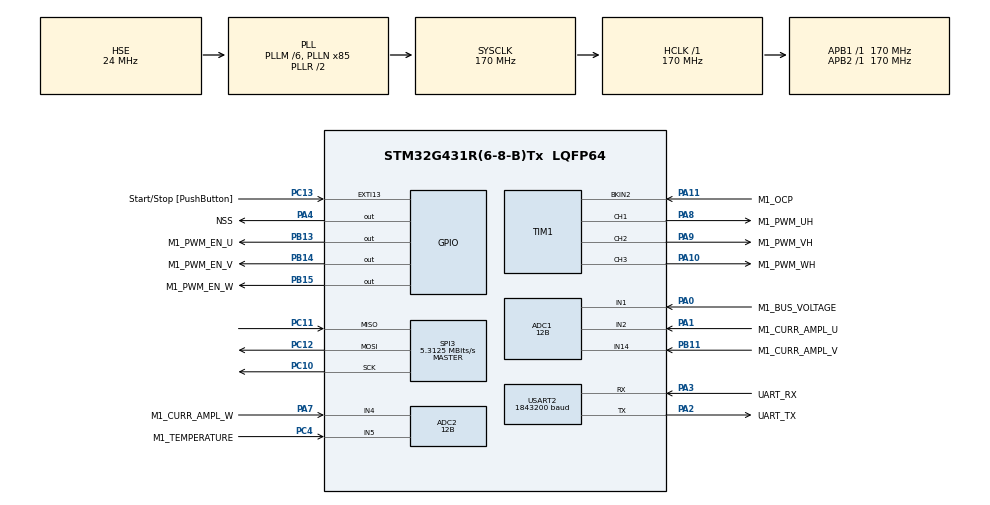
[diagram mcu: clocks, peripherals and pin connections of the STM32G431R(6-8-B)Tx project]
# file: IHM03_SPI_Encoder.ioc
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ADC1.Channel-1\#ChannelRegularConversion=ADC_CHANNEL_1
ADC1.ClockPrescaler=ADC_CLOCK_ASYNC_DIV1
ADC1.ContinuousConvMode=DISABLE
ADC1.DMAContinuousRequests=DISABLE
ADC1.DataAlign=ADC_DATAALIGN_LEFT
ADC1.DiscontinuousConvMode=DISABLE
ADC1.EOCSelection=ADC_EOC_SINGLE_CONV
ADC1.EnableAnalogWatchDog1=false
ADC1.EnableAnalogWatchDog2=false
ADC1.EnableAnalogWatchDog3=false
ADC1.EnableInjectedConversion=ENABLE
ADC1.EnableRegularConversion=ENABLE
ADC1.ExternalTrigConv=ADC_SOFTWARE_START
ADC1.ExternalTrigConvEdge=ADC_EXTERNALTRIGCONVEDGE_NONE
ADC1.ExternalTrigInjecConv=ADC_EXTERNALTRIGINJEC_T1_TRGO
ADC1.ExternalTrigInjecConvEdge=ADC_EXTERNALTRIGINJECCONV_EDGE_RISING
ADC1.InjNumberOfConversion=2
ADC1.InjectedChannel-1\#ChannelInjectedConversion=ADC_CHANNEL_2
ADC1.InjectedChannel-2\#ChannelInjectedConversion=ADC_CHANNEL_14
ADC1.InjectedConvMode=None
ADC1.InjectedOffset-1\#ChannelInjectedConversion=0
ADC1.InjectedOffset-2\#ChannelInjectedConversion=0
ADC1.InjectedOffsetNumber-1\#ChannelInjectedConversion=ADC_OFFSET_NONE
ADC1.InjectedOffsetNumber-2\#ChannelInjectedConversion=ADC_OFFSET_NONE
ADC1.InjectedRank-1\#ChannelInjectedConversion=1
ADC1.InjectedRank-2\#ChannelInjectedConversion=2
ADC1.InjectedSamplingTime-1\#ChannelInjectedConversion=ADC_SAMPLETIME_6CYCLES_5
ADC1.InjectedSamplingTime-2\#ChannelInjectedConversion=ADC_SAMPLETIME_6CYCLES_5
ADC1.LowPowerAutoWait=DISABLE
ADC1.NbrOfConversion=1
ADC1.NbrOfConversionFlag=1
ADC1.Offset-1\#ChannelRegularConversion=0
ADC1.OffsetNumber-1\#ChannelRegularConversion=ADC_OFFSET_NONE
ADC1.Overrun=ADC_OVR_DATA_PRESERVED
ADC1.Rank-1\#ChannelRegularConversion=1
ADC1.Resolution=ADC_RESOLUTION_12B
ADC1.SamplingTime-1\#ChannelRegularConversion=ADC_SAMPLETIME_47CYCLES_5
ADC1.ScanConvMode=ADC_SCAN_ENABLE
ADC1.master=1
ADC2.Channel-1\#ChannelRegularConversion=ADC_CHANNEL_5
ADC2.ClockPrescaler=ADC_CLOCK_ASYNC_DIV1
ADC2.ContinuousConvMode=DISABLE
ADC2.DMAContinuousRequests=DISABLE
ADC2.DataAlign=ADC_DATAALIGN_LEFT
ADC2.DiscontinuousConvMode=DISABLE
ADC2.EOCSelection=ADC_EOC_SINGLE_CONV
ADC2.EnableAnalogWatchDog1=false
ADC2.EnableAnalogWatchDog2=false
ADC2.EnableAnalogWatchDog3=false
ADC2.EnableInjectedConversion=ENABLE
ADC2.EnableRegularConversion=ENABLE
ADC2.ExternalTrigConv=ADC_SOFTWARE_START
ADC2.ExternalTrigConvEdge=ADC_EXTERNALTRIGCONVEDGE_NONE
ADC2.ExternalTrigInjecConv=ADC_EXTERNALTRIGINJEC_T1_TRGO
ADC2.ExternalTrigInjecConvEdge=ADC_EXTERNALTRIGINJECCONV_EDGE_RISING
ADC2.InjNumberOfConversion=2
ADC2.InjectedChannel-1\#ChannelInjectedConversion=ADC_CHANNEL_14
ADC2.InjectedChannel-2\#ChannelInjectedConversion=ADC_CHANNEL_4
ADC2.InjectedConvMode=None
ADC2.InjectedOffset-1\#ChannelInjectedConversion=0
ADC2.InjectedOffset-2\#ChannelInjectedConversion=0
ADC2.InjectedOffsetNumber-1\#ChannelInjectedConversion=ADC_OFFSET_NONE
ADC2.InjectedOffsetNumber-2\#ChannelInjectedConversion=ADC_OFFSET_NONE
ADC2.InjectedRank-1\#ChannelInjectedConversion=1
ADC2.InjectedRank-2\#ChannelInjectedConversion=2
ADC2.InjectedSamplingTime-1\#ChannelInjectedConversion=ADC_SAMPLETIME_6CYCLES_5
ADC2.InjectedSamplingTime-2\#ChannelInjectedConversion=ADC_SAMPLETIME_6CYCLES_5
ADC2.LowPowerAutoWait=DISABLE
ADC2.NbrOfConversion=1
ADC2.NbrOfConversionFlag=1
ADC2.Offset-1\#ChannelRegularConversion=0
ADC2.OffsetNumber-1\#ChannelRegularConversion=ADC_OFFSET_NONE
ADC2.Overrun=ADC_OVR_DATA_PRESERVED
ADC2.Rank-1\#ChannelRegularConversion=1
ADC2.Resolution=ADC_RESOLUTION_12B
ADC2.SamplingTime-1\#ChannelRegularConversion=ADC_SAMPLETIME_47CYCLES_5
ADC2.ScanConvMode=ADC_SCAN_ENABLE
ADC2.master=1
Dma.Request0=USART2_RX
Dma.Request1=USART2_TX
Dma.USART2_RX.0.Direction=DMA_PERIPH_TO_MEMORY
Dma.USART2_RX.0.EventEnable=DISABLE
Dma.USART2_RX.0.Instance=DMA1_Channel1
Dma.USART2_RX.0.MemDataAlignment=DMA_MDATAALIGN_BYTE
Dma.USART2_RX.0.MemInc=DMA_MINC_ENABLE
Dma.USART2_RX.0.Mode=DMA_NORMAL
Dma.USART2_RX.0.PeriphDataAlignment=DMA_PDATAALIGN_BYTE
Dma.USART2_RX.0.PeriphInc=DMA_PINC_DISABLE
Dma.USART2_RX.0.Polarity=HAL_DMAMUX_REQ_GEN_RISING
Dma.USART2_RX.0.Priority=DMA_PRIORITY_LOW
Dma.USART2_RX.0.RequestNumber=1
Dma.USART2_RX.0.SignalID=NONE
Dma.USART2_RX.0.SyncEnable=DISABLE
Dma.USART2_RX.0.SyncPolarity=HAL_DMAMUX_SYNC_NO_EVENT
Dma.USART2_RX.0.SyncRequestNumber=1
Dma.USART2_RX.0.SyncSignalID=NONE
Dma.USART2_TX.1.Direction=DMA_MEMORY_TO_PERIPH
Dma.USART2_TX.1.EventEnable=DISABLE
Dma.USART2_TX.1.Instance=DMA1_Channel2
Dma.USART2_TX.1.MemDataAlignment=DMA_MDATAALIGN_BYTE
Dma.USART2_TX.1.MemInc=DMA_MINC_ENABLE
Dma.USART2_TX.1.Mode=DMA_NORMAL
Dma.USART2_TX.1.PeriphDataAlignment=DMA_PDATAALIGN_BYTE
Dma.USART2_TX.1.PeriphInc=DMA_PINC_DISABLE
Dma.USART2_TX.1.Polarity=HAL_DMAMUX_REQ_GEN_RISING
Dma.USART2_TX.1.Priority=DMA_PRIORITY_LOW
Dma.USART2_TX.1.RequestNumber=1
Dma.USART2_TX.1.SignalID=NONE
Dma.USART2_TX.1.SyncEnable=DISABLE
Dma.USART2_TX.1.SyncPolarity=HAL_DMAMUX_SYNC_NO_EVENT
Dma.USART2_TX.1.SyncRequestNumber=1
Dma.USART2_TX.1.SyncSignalID=NONE
ExtraMW=MotorControl
ExtraMW.MotorControl.Config=MotorControl
ExtraMW.MotorControl.Mode=MotorControl
ExtraMW.MotorControl.Root=MCSDK_v6.1.2-Full/MotorControl
ExtraMW.MotorControl.Template=templates
Mcu.Family=STM32G4
Mcu.Name=STM32G431R(6-8-B)Tx
Mcu.Package=LQFP64
MotorControl.ADC_1_PERIPH=ADC1
MotorControl.ADC_2_PERIPH=ADC2
MotorControl.ADC_AHBPERIPH=RCC_AHBPeriph_ADC12
MotorControl.ADC_CLOCK_WB_DIV=1
MotorControl.ADC_PERIPH=ADC1
MotorControl.ADC_REFERENCE_VOLTAGE=3.3
MotorControl.AMPLIFICATION_GAIN=1.53
MotorControl.ANGC={0,0,0,0,0,0,0,0}
MotorControl.BEMF_CONSISTENCY_GAIN=64
MotorControl.BEMF_CONSISTENCY_TOL=64
MotorControl.BKIN1_FILTER=0
MotorControl.BKIN2_FILTER=3
MotorControl.BKIN2_MODE=EXT_MODE
MotorControl.BKIN_MODE=NONE
MotorControl.BOARD=NUCLEO-G431RB
MotorControl.BUS_VOLTAGE_READING=true
MotorControl.CCMRAM_ENABLED=false
MotorControl.CLOCK_FREQUENCY=CPU_CLK_170_MHZ
MotorControl.CLOCK_SOURCE=EXTERNAL
MotorControl.CONSTANT1_D=225084
MotorControl.CONSTANT1_Q=225084
MotorControl.CONSTANT2_QD=44916
MotorControl.CPU_CLK_170_MHZ=true
MotorControl.CTLBOARD_NAME=NUCLEO-G431RB
MotorControl.CUBE_MX_VER=6.6.0
MotorControl.CURRENT_READING_TOPOLOGY=THREE_SHUNT_INDEPENDENT_RESOURCES
MotorControl.CURR_SAMPLING_TIME=6
MotorControl.DAC_FUNCTIONALITY=false
MotorControl.DC_CURRENT_RS_MEAS=1.5
MotorControl.DEFAULT_CONTROL_MODE=STC_SPEED_MODE
MotorControl.DEFAULT_FLUX_COMPONENT=0
MotorControl.DEFAULT_TARGET_SPEED_RPM=524
MotorControl.DEFAULT_TORQUE_COMPONENT=0
MotorControl.DISCONTINUOUS_PWM=false
MotorControl.DRIVES_NUMBER_SELECTION=SINGLEDRIVE
MotorControl.DRIVE_TYPE=FOC
MotorControl.EMERGENCY2_STOP_GPIO_PIN=LL_GPIO_PIN_11
MotorControl.EMERGENCY2_STOP_GPIO_PORT=GPIOA
MotorControl.EMERGENCY_STOP_GPIO_PIN=LL_GPIO_PIN_11
MotorControl.EMERGENCY_STOP_GPIO_PORT=GPIOA
MotorControl.ENABLE_SL_ALGO_FROM_PHASE=2
MotorControl.ENCODER_AVAILABLE=false
MotorControl.ENCODER_PPR=400
MotorControl.EXT_CLK_24_MHZ=true
MotorControl.EXT_CLOCK_FREQUENCY=EXT_CLK_24_MHZ
MotorControl.F1=16384
MotorControl.F2=2048
MotorControl.FEEDBACK_NET_FILTERING=false
MotorControl.FEED_FORWARD_CURRENT_REG_ENABLING=false
MotorControl.FLUX_WEAKENING_ENABLING=false
MotorControl.FW_KIDIV=32768
MotorControl.FW_KI_GAIN=5000
MotorControl.FW_KPDIV=32768
MotorControl.FW_KP_GAIN=3000
MotorControl.FW_VOLTAGE_REF=985
MotorControl.GAIN1=-22733
MotorControl.GAIN2=17455
MotorControl.HALL_PHASE_SHIFT=300
MotorControl.HALL_SENSORS_AVAILABLE=false
MotorControl.HALL_SENSORS_PLACEMENT=DEGREES_120
MotorControl.HIGH_SIDE_IDLE_STATE=false
MotorControl.HWV_CS=ThreeShunt_AmplifiedCurrents
MotorControl.HWV_OCP=OnPowerStageOCP
MotorControl.HWV_PWM=DrivingHighSidesAndThreeEnables
MotorControl.HW_COMPLEMENTED_LOW_SIDE=true
MotorControl.HW_DEAD_TIME_NS=550
MotorControl.ID_DEMAG=-15020
MotorControl.IPs=CORDIC,NVIC,RCC,SYS,MotorControl,TIM1,ADC1,ADC2,USART2,DMA
MotorControl.IQMAX=15020
MotorControl.LDLQ_RATIO=1.000
MotorControl.LOW_SIDE_IDLE_STATE=false
MotorControl.LOW_SIDE_SIGNALS_ENABLING=ES_GPIO
MotorControl.LS=0.001058
MotorControl.M1_CS_ADC_NUM=2
MotorControl.M1_CS_ADC_PHASE_SHARED=V
MotorControl.M1_CS_ADC_U=ADC1
MotorControl.M1_CS_ADC_W=ADC2
MotorControl.M1_CS_CHANNEL_SHARED=14
MotorControl.M1_CS_CHANNEL_U=2
MotorControl.M1_CS_CHANNEL_V=14
MotorControl.M1_CS_CHANNEL_W=4
MotorControl.M1_CURRENT_AMPLIFICATION_TOPO=EXTERNAL
MotorControl.M1_CURRENT_PROTECTION_DESTINATION=TIM_BKIN2
MotorControl.M1_CURRENT_PROTECTION_TOPOLOGY=EXTERNAL
MotorControl.M1_CURRENT_SENSING_TOPO=THREE_SHUNT
MotorControl.M1_DBG_OPEN_LOOP_ENABLE=false
MotorControl.M1_ICL_ENABLED=false
MotorControl.M1_OVP_THRESHOLD_HIGH=14
MotorControl.M1_POTENTIOMETER_ENABLE=false
MotorControl.M1_PWM_CHARGE_BOOT_CAP_DUTY_CYCLES=0.000
MotorControl.M1_PWM_CHARGE_BOOT_CAP_MS=10
MotorControl.M1_PWM_DRIVER_PN=Driver or IGBT or MOSFET Part Number
MotorControl.M1_SS_MEAS_ERRORS_BEFORE_FAULTS=3
MotorControl.MAX_APPLICATION_SPEED=1572
MotorControl.MAX_MODULATION_81_PER_CENT=true
MotorControl.MAX_MODULATION_INDEX=MAX_MODULATION_81_PER_CENT
MotorControl.MAX_READABLE_CURRENT=3.272
MotorControl.MCP_ASPEP_OVER_UART=true
MotorControl.MCP_DATALOG_OVER_ASPEP=true
MotorControl.MCP_DATALOG_OVER_UART_A=true
MotorControl.MCP_DATALOG_OVER_UART_A_SIGNALS=10
MotorControl.MCP_DATALOG_PAYLOAD_MAX_UART_A=2048
MotorControl.MCP_DATALOG_USED=true
MotorControl.MCP_DMACH_RX_UART_A=1
MotorControl.MCP_DMACH_TX_UART_A=2
MotorControl.MCP_DMA_RX_UART_A=DMA1
MotorControl.MCP_DMA_TX_UART_A=DMA1
MotorControl.MCP_IRQ_HANDLER_DMA_RX_UART_A=DMA1_Channel1_IRQHandler
MotorControl.MCP_IRQ_HANDLER_UART_A=USART2_IRQHandler
MotorControl.MCP_OVER_ASPEP=true
MotorControl.MCP_OVER_STLNK=false
MotorControl.MCP_OVER_UART_A=true
MotorControl.MCP_OVER_UART_B=false
MotorControl.MCP_RX_SYNC_PAYLOAD_MAX=128
MotorControl.MCP_TX_SYNC_PAYLOAD_MAX=128
MotorControl.MCP_UART_SELECTION_A=USART2
MotorControl.MCP_USED=true
MotorControl.MCU=STM32G431RB
MotorControl.MCU_FAMILY=STM32G4
MotorControl.MCU_LINE=STM32G4x1
MotorControl.MCU_NAME=STM32G431R(6-8-B)Tx
MotorControl.MCU_PACKAGE=LQFP64
MotorControl.MCU_TYPE=STM32G431RB
MotorControl.MCU_USERNAME=STM32G431RBTx
MotorControl.MC_WORKBENCH_VERSION=6.1.2
MotorControl.MIN_APPLICATION_SPEED=0
MotorControl.MOTOR_MAX_SPEED_RPM=1572
MotorControl.MOTOR_NAME=GimBal GBM2804H-100T
MotorControl.MOTOR_TYPE=PMSM
MotorControl.MOTOR_VOLTAGE_CONSTANT=5.0
MotorControl.MTPA_ENABLING=false
MotorControl.NB_CONSECUTIVE_TESTS=2
MotorControl.NOMINAL_BUS_VOLTAGE_V=12
MotorControl.NOMINAL_CURRENT=15020
MotorControl.OBS_MINIMUM_SPEED_RPM=524
MotorControl.OFST={0,0,0,0,0,0,0,0}
MotorControl.ON_OVER_VOLTAGE=TURN_OFF_PWM
MotorControl.OVERCURR_FEEDBACK_POLARITY=EMSTOP_ACTIVE_LOW
MotorControl.OVERMODULATION=false
MotorControl.OV_TEMPERATURE_HYSTERESIS_C=10
MotorControl.OV_TEMPERATURE_PROT_ENABLING=true
MotorControl.OV_TEMPERATURE_THRESHOLD_C=110
MotorControl.OV_VOLTAGE_PROT_ENABLING=true
MotorControl.OV_VOLTAGE_THRESHOLD_V=14
MotorControl.PHASE1_DURATION=1000
MotorControl.PHASE1_FINAL_CURRENT=15020
MotorControl.PHASE1_FINAL_SPEED_RPM=0
MotorControl.PHASE2_DURATION=1164
MotorControl.PHASE2_FINAL_CURRENT=15020
MotorControl.PHASE2_FINAL_SPEED_RPM=582
MotorControl.PHASE3_DURATION=0
MotorControl.PHASE3_FINAL_CURRENT=15020
MotorControl.PHASE3_FINAL_SPEED_RPM=582
MotorControl.PHASE4_DURATION=0
MotorControl.PHASE4_FINAL_CURRENT=15020
MotorControl.PHASE4_FINAL_SPEED_RPM=582
MotorControl.PHASE5_DURATION=0
MotorControl.PHASE5_FINAL_CURRENT=15020
MotorControl.PHASE5_FINAL_SPEED_RPM=582
MotorControl.PHASE_UH_GPIO_PIN=LL_GPIO_PIN_8
MotorControl.PHASE_UH_GPIO_PORT=GPIOA
MotorControl.PHASE_UH_POLARITY=H_ACTIVE_HIGH
MotorControl.PHASE_UL_GPIO_PIN=LL_GPIO_PIN_13
MotorControl.PHASE_UL_GPIO_PORT=GPIOB
MotorControl.PHASE_UL_POLARITY=L_ACTIVE_HIGH
MotorControl.PHASE_U_CURR_ADC=ADC1
MotorControl.PHASE_U_CURR_CHANNEL=ADC_CHANNEL_2
MotorControl.PHASE_U_GPIO_PIN=LL_GPIO_PIN_1
MotorControl.PHASE_U_GPIO_PORT=GPIOA
MotorControl.PHASE_VH_GPIO_PIN=LL_GPIO_PIN_9
MotorControl.PHASE_VH_GPIO_PORT=GPIOA
MotorControl.PHASE_VH_POLARITY=H_ACTIVE_HIGH
MotorControl.PHASE_VL_GPIO_PIN=LL_GPIO_PIN_14
MotorControl.PHASE_VL_GPIO_PORT=GPIOB
MotorControl.PHASE_VL_POLARITY=L_ACTIVE_HIGH
MotorControl.PHASE_V_CURR_ADC=ADC1
MotorControl.PHASE_V_CURR_CHANNEL=ADC_CHANNEL_14
MotorControl.PHASE_V_GPIO_PIN=LL_GPIO_PIN_11
MotorControl.PHASE_V_GPIO_PORT=GPIOB
MotorControl.PHASE_V_S_CURR_ADC=ADC2
MotorControl.PHASE_V_S_CURR_CHANNEL=ADC_CHANNEL_14
MotorControl.PHASE_V_S_GPIO_PIN=LL_GPIO_PIN_11
MotorControl.PHASE_V_S_GPIO_PORT=GPIOB
MotorControl.PHASE_WH_GPIO_PIN=LL_GPIO_PIN_10
MotorControl.PHASE_WH_GPIO_PORT=GPIOA
MotorControl.PHASE_WH_POLARITY=H_ACTIVE_HIGH
MotorControl.PHASE_WL_GPIO_PIN=LL_GPIO_PIN_15
MotorControl.PHASE_WL_GPIO_PORT=GPIOB
MotorControl.PHASE_WL_POLARITY=L_ACTIVE_HIGH
MotorControl.PHASE_W_CURR_ADC=ADC2
MotorControl.PHASE_W_CURR_CHANNEL=ADC_CHANNEL_4
MotorControl.PHASE_W_GPIO_PIN=LL_GPIO_PIN_7
MotorControl.PHASE_W_GPIO_PORT=GPIOA
MotorControl.PID_FLUX_KD_DEFAULT=100
MotorControl.PID_FLUX_KI_DEFAULT=2128
MotorControl.PID_FLUX_KP_DEFAULT=3547
MotorControl.PID_SPEED_KD_DEFAULT=0
MotorControl.PID_SPEED_KI_DEFAULT=562
MotorControl.PID_SPEED_KP_DEFAULT=2730
MotorControl.PID_TORQUE_KD_DEFAULT=100
MotorControl.PID_TORQUE_KI_DEFAULT=2128
MotorControl.PID_TORQUE_KP_DEFAULT=3547
MotorControl.PLL_KI_GAIN=4
MotorControl.PLL_KP_GAIN=176
MotorControl.POLE_PAIR_NUM=7
MotorControl.POSITION_CTRL_ENABLING=false
MotorControl.POTENTIOMETER_READING=false
MotorControl.POWERBOARD_NAME=X-NUCLEO-IHM16M1
MotorControl.PWM_FREQUENCY=100000
MotorControl.PWM_TIMER_SELECTION=PWM_TIM1
MotorControl.REGULATION_EXECUTION_RATE=3
MotorControl.RS=5.29
MotorControl.RSHUNT=0.33
MotorControl.RTOS=NONE
MotorControl.R_BRAKE_SWITCH_OFF_THRES_V=12
MotorControl.SEGDIV=0
MotorControl.SHARED_SIGNAL_ENABLE=false
MotorControl.SINGLEDRIVE=true
MotorControl.SPD_DIFFERENTIAL_TERM_ENABLING=false
MotorControl.SPEED_BAND_LOWER_LIMIT=15
MotorControl.SPEED_BAND_UPPER_LIMIT=17
MotorControl.SPEED_FEEDBACK_CHECK=true
MotorControl.SPEED_LOOP_FREQUENCY_HZ=1000
MotorControl.SPEED_SENSOR_SELECTION=STATE_OBSERVER_PLL
MotorControl.SP_KDDIV=16
MotorControl.SP_KIDIV=16384
MotorControl.SP_KPDIV=256
MotorControl.STARTING_ANGLE_DEG=0
MotorControl.START_STOP_BTN=true
MotorControl.START_STOP_GPIO_PIN=LL_GPIO_PIN_13
MotorControl.START_STOP_GPIO_PORT=GPIOC
MotorControl.START_STOP_POLARITY=DIN_ACTIVE_LOW
MotorControl.START_STOP_POLARITY_EDGE=GPIO_NOPULL
MotorControl.STATE_OBSERVER_PLL=true
MotorControl.STM32G431RB=true
MotorControl.STO_FIFO_DEPTH_01HZ=64
MotorControl.STO_FIFO_DEPTH_DPP=64
MotorControl.SW_DEADTIME_NS=525
MotorControl.SW_OV_CURRENT_PROT_ENABLING=true
MotorControl.T0_C=25
MotorControl.TEMPERATURE_READING=true
MotorControl.TEMP_ADC_SAMPLING_TIME=47
MotorControl.TEMP_FDBK_ADC=ADC2
MotorControl.TEMP_FDBK_CHANNEL=ADC_CHANNEL_5
MotorControl.TEMP_FDBK_GPIO_PIN=LL_GPIO_PIN_4
MotorControl.TEMP_FDBK_GPIO_PORT=GPIOC
MotorControl.TFDIFFERENTIAL_TERM_ENABLING=false
MotorControl.TF_KDDIV=8192
MotorControl.TF_KIDIV=4096
MotorControl.TF_KPDIV=1024
MotorControl.THREE_SHUNT_INDEPENDENT_RESOURCES=true
MotorControl.TNOISE_NS=500
MotorControl.TRANSITION_DURATION=25
MotorControl.TRISE_NS=500
MotorControl.T_MAX=110
MotorControl.UD_VOLTAGE_THRESHOLD_V=7
MotorControl.USART_RX_GPIO_PIN=LL_GPIO_PIN_3
MotorControl.USART_RX_GPIO_PORT=GPIOA
MotorControl.USART_SELECTION=USE_USART2
MotorControl.USART_SPEED=1843200
MotorControl.USART_TX_GPIO_PIN=LL_GPIO_PIN_2
MotorControl.USART_TX_GPIO_PORT=GPIOA
MotorControl.USE_3OPAMPS=false
MotorControl.USE_INTERNAL_OPAMP=false
MotorControl.UV_VOLTAGE_PROT_ENABLING=true
MotorControl.V0_V=0.579
MotorControl.VARIANCE_THRESHOLD=0.25
MotorControl.VBUS_ADC=ADC1
MotorControl.VBUS_ADC_SAMPLING_TIME=47
MotorControl.VBUS_CHANNEL=ADC_CHANNEL_1
MotorControl.VBUS_GPIO_PIN=LL_GPIO_PIN_0
MotorControl.VBUS_GPIO_PORT=GPIOA
MotorControl.VBUS_PARTITIONING_FACTOR=0.0625
MotorControl.WB_UI_ENCODER_HAS_INDEX_PIN=false
MotorControl.WB_UI_FRICTION=0.937
MotorControl.WB_UI_INERTIA=0.291
MotorControl.WB_UI_MAGNETIC_STRUCTURE=SM-PMSM
MotorControl.WB_UI_MAX_CURRENT=1.5
MotorControl.WB_UI_MAX_NOMINAL_DC_VOLTAGE=14.8
MotorControl.WB_to_Mx_template_version=22-12-05
MotorControl.WB_to_Mx_version=6.1.0
MotorControl.dV_dT=0.027
NVIC.ADC1_2_IRQn=true\:2\:0\:true\:true\:false\:5\:true\:true\:true
NVIC.DMA1_Channel1_IRQn=true\:3\:0\:true\:true\:false\:2\:true\:true\:true
NVIC.EXTI15_10_IRQn=true\:3\:0\:false\:true\:false\:6\:true\:true\:true
NVIC.PriorityGroup=NVIC_PRIORITYGROUP_3
NVIC.TIM1_BRK_TIM15_IRQn=true\:4\:1\:true\:true\:false\:3\:true\:true\:true
NVIC.TIM1_UP_TIM16_IRQn=true\:0\:0\:false\:true\:false\:4\:true\:true\:true
NVIC.TIM3_IRQn=true\:0\:0\:false\:true\:true\:7\:true\:true\:true
NVIC.USART2_IRQn=true\:3\:1\:true\:true\:false\:1\:true\:true\:true
PA0.GPIO_Label=M1_BUS_VOLTAGE
PA0.Mode=IN1-Single-Ended
PA0.Signal=ADC1_IN1
PA1.GPIO_Label=M1_CURR_AMPL_U
PA1.Mode=IN2-Single-Ended
PA1.Signal=ADC1_IN2
PA10.GPIO_Label=M1_PWM_WH
PA10.GPIO_PuPd=GPIO_PULLDOWN
PA10.GPIO_Speed=GPIO_SPEED_FREQ_HIGH
PA10.Signal=S_TIM1_CH3
PA11.GPIO_Label=M1_OCP
PA11.GPIO_PuPd=GPIO_PULLUP
PA11.Mode=Activate-Break-Input-2
PA11.Signal=TIM1_BKIN2
PA13.GPIO_Label=TMS
PA13.Mode=Serial_Wire
PA13.Signal=SYS_JTMS-SWDIO
PA14.GPIO_Label=TCK
PA14.Mode=Serial_Wire
PA14.Signal=SYS_JTCK-SWCLK
PA2.GPIO_Label=UART_TX
PA2.GPIO_Mode=GPIO_MODE_AF_PP
PA2.GPIO_PuPd=GPIO_NOPULL
PA2.GPIO_Speed=GPIO_SPEED_FREQ_LOW
PA2.Mode=Asynchronous
PA2.Signal=USART2_TX
PA3.GPIO_Label=UART_RX
PA3.GPIO_Mode=GPIO_MODE_AF_PP
PA3.GPIO_PuPd=GPIO_NOPULL
PA3.GPIO_Speed=GPIO_SPEED_FREQ_LOW
PA3.Mode=Asynchronous
PA3.Signal=USART2_RX
PA4.GPIO_Label=NSS
PA4.PinState=GPIO_PIN_SET
PA4.Signal=GPIO_Output
PA7.GPIO_Label=M1_CURR_AMPL_W
PA7.Mode=IN4-Single-Ended
PA7.Signal=ADC2_IN4
PA8.GPIO_Label=M1_PWM_UH
PA8.GPIO_PuPd=GPIO_PULLDOWN
PA8.GPIO_Speed=GPIO_SPEED_FREQ_HIGH
PA8.Signal=S_TIM1_CH1
PA9.GPIO_Label=M1_PWM_VH
PA9.GPIO_PuPd=GPIO_PULLDOWN
PA9.GPIO_Speed=GPIO_SPEED_FREQ_HIGH
PA9.Signal=S_TIM1_CH2
PB11.GPIO_Label=M1_CURR_AMPL_V
PB11.Signal=SharedAnalog_PB11
PB13.GPIO_Label=M1_PWM_EN_U
PB13.GPIO_PuPd=GPIO_PULLDOWN
PB13.GPIO_Speed=GPIO_SPEED_FREQ_HIGH
PB13.Signal=GPIO_Output
PB14.GPIO_Label=M1_PWM_EN_V
PB14.GPIO_PuPd=GPIO_PULLDOWN
PB14.GPIO_Speed=GPIO_SPEED_FREQ_HIGH
PB14.Signal=GPIO_Output
PB15.GPIO_Label=M1_PWM_EN_W
PB15.GPIO_PuPd=GPIO_PULLDOWN
PB15.GPIO_Speed=GPIO_SPEED_FREQ_HIGH
PB15.Signal=GPIO_Output
PC10.GPIO_Speed=GPIO_SPEED_FREQ_VERY_HIGH
PC10.Mode=Full_Duplex_Master
PC10.Signal=SPI3_SCK
PC11.GPIO_Speed=GPIO_SPEED_FREQ_VERY_HIGH
PC11.Mode=Full_Duplex_Master
PC11.Signal=SPI3_MISO
PC12.GPIO_Speed=GPIO_SPEED_FREQ_VERY_HIGH
PC12.Mode=Full_Duplex_Master
PC12.Signal=SPI3_MOSI
PC13.GPIO_Label=Start/Stop [PushButton]
PC13.GPIO_ModeDefaultEXTI=GPIO_MODE_IT_FALLING
PC13.GPIO_PuPd=GPIO_NOPULL
PC13.Signal=GPXTI13
PC4.GPIO_Label=M1_TEMPERATURE
PC4.Mode=IN5-Single-Ended
PC4.Signal=ADC2_IN5
PF0-OSC_IN.Mode=HSE-External-Oscillator
PF0-OSC_IN.Signal=RCC_OSC_IN
PF1-OSC_OUT.Mode=HSE-External-Oscillator
PF1-OSC_OUT.Signal=RCC_OSC_OUT
ProjectManager.HeapSize=0x200
ProjectManager.StackSize=0x400
ProjectManager.TargetToolchain=STM32CubeIDE
RCC.ADC12CLockSelection=RCC_ADC12CLKSOURCE_PLL
RCC.ADC12Freq_Value=42500000
RCC.ADC345Freq_Value=170000000
RCC.AHBFreq_Value=170000000
RCC.APB1Freq_Value=170000000
RCC.APB1TimFreq_Value=170000000
RCC.APB2Freq_Value=170000000
RCC.APB2TimFreq_Value=170000000
RCC.CortexFreq_Value=170000000
RCC.EXTERNAL_CLOCK_VALUE=12288000
RCC.EnbaleCSS=true
RCC.HCLKFreq_Value=170000000
RCC.HSE_VALUE=24000000
RCC.HSI48_VALUE=48000000
RCC.HSI_VALUE=16000000
RCC.LSE_VALUE=32768
RCC.PLLM=RCC_PLLM_DIV6
RCC.PLLN=85
RCC.PLLP=RCC_PLLP_DIV8
RCC.PLLSourceVirtual=RCC_PLLSOURCE_HSE
RCC.SYSCLKFreq_VALUE=170000000
RCC.SYSCLKSource=RCC_SYSCLKSOURCE_PLLCLK
RCC.USBFreq_Value=170000000
RCC.VCOOutputFreq_Value=340000000
SH.S_TIM1_CH1.0=TIM1_CH1,PWM Generation1 CH1
SH.S_TIM1_CH2.0=TIM1_CH2,PWM Generation2 CH2
SH.S_TIM1_CH3.0=TIM1_CH3,PWM Generation3 CH3
SH.SharedAnalog_PB11.0=ADC1_IN14,IN14-Single-Ended
SH.SharedAnalog_PB11.1=ADC2_IN14,IN14-Single-Ended
SPI3.BaudRatePrescaler=SPI_BAUDRATEPRESCALER_32
SPI3.CLKPhase=SPI_PHASE_2EDGE
SPI3.CLKPolarity=SPI_POLARITY_LOW
SPI3.CRCCalculation=SPI_CRCCALCULATION_DISABLE
SPI3.CalculateBaudRate=5.3125 MBits/s
SPI3.DataSize=SPI_DATASIZE_16BIT
SPI3.Direction=SPI_DIRECTION_2LINES
SPI3.FirstBit=SPI_FIRSTBIT_MSB
SPI3.Mode=SPI_MODE_MASTER
SPI3.TIMode=SPI_TIMODE_DISABLE
SPI3.VirtualType=VM_MASTER
TIM1.AutoReloadPreload=TIM_AUTORELOAD_PRELOAD_DISABLE
TIM1.AutomaticOutput=TIM_AUTOMATICOUTPUT_DISABLE
TIM1.Break2Filter=3
TIM1.Break2Polarity=TIM_BREAK2POLARITY_HIGH
TIM1.Break2State=TIM_BREAK2_ENABLE
TIM1.BreakFilter=0
TIM1.BreakPolarity=TIM_BREAKPOLARITY_HIGH
TIM1.BreakState=TIM_BREAK_DISABLE
TIM1.Channel=TIM_CHANNEL_4
TIM1.Channel-PWM\ Generation1\ CH1=TIM_CHANNEL_1
TIM1.Channel-PWM\ Generation2\ CH2=TIM_CHANNEL_2
TIM1.Channel-PWM\ Generation3\ CH3=TIM_CHANNEL_3
TIM1.Channel-PWM\ Generation4\ No\ Output=TIM_CHANNEL_4
TIM1.ClearInputSource=TIM_CLEARINPUTSOURCE_NONE
TIM1.ClockDivision=TIM_CLOCKDIVISION_DIV2
TIM1.CounterMode=TIM_COUNTERMODE_CENTERALIGNED1
TIM1.LockLevel=TIM_LOCKLEVEL_1
TIM1.OC1Preload_PWM=ENABLE
TIM1.OC2Preload_PWM=ENABLE
TIM1.OC3Preload_PWM=ENABLE
TIM1.OC4Preload_PWM=ENABLE
TIM1.OCFastMode_PWM=TIM_OCFAST_DISABLE
TIM1.OCIdleState_1=TIM_OCIDLESTATE_RESET
TIM1.OCIdleState_2=TIM_OCIDLESTATE_RESET
TIM1.OCIdleState_3=TIM_OCIDLESTATE_RESET
TIM1.OCIdleState_4=TIM_OCIDLESTATE_RESET
TIM1.OCMode_PWM-PWM\ Generation1\ CH1=TIM_OCMODE_PWM1
TIM1.OCMode_PWM-PWM\ Generation2\ CH2=TIM_OCMODE_PWM1
TIM1.OCMode_PWM-PWM\ Generation3\ CH3=TIM_OCMODE_PWM1
TIM1.OCMode_PWM-PWM\ Generation4\ No\ Output=TIM_OCMODE_PWM2
TIM1.OCPolarity_1=TIM_OCPOLARITY_HIGH
TIM1.OCPolarity_2=TIM_OCPOLARITY_HIGH
TIM1.OCPolarity_3=TIM_OCPOLARITY_HIGH
TIM1.OCPolarity_4=TIM_OCPOLARITY_HIGH
TIM1.OffStateIDLEMode=TIM_OSSI_ENABLE
TIM1.OffStateRunMode=TIM_OSSR_ENABLE
TIM1.PeriodNoDither=((PWM_PERIOD_CYCLES) / 2)
TIM1.Prescaler=((TIM_CLOCK_DIVIDER) - 1)
TIM1.PulseNoDither_1=((PWM_PERIOD_CYCLES) / 4)
TIM1.PulseNoDither_2=((PWM_PERIOD_CYCLES) / 4)
TIM1.PulseNoDither_3=((PWM_PERIOD_CYCLES) / 4)
TIM1.PulseNoDither_4=(((PWM_PERIOD_CYCLES) / 2) - (HTMIN))
TIM1.RepetitionCounter=(REP_COUNTER)
TIM1.SourceBRK2DigInput=TIM_BREAKINPUTSOURCE_ENABLE
TIM1.SourceBRK2DigInputPolarity=TIM_BREAKINPUTSOURCE_POLARITY_LOW
TIM1.SourceBRKDigInput=TIM_BREAKINPUTSOURCE_DISABLE
TIM1.TIM_MasterOutputTrigger=TIM_TRGO_OC4REF
TIM1.TIM_MasterOutputTrigger2=TIM_TRGO2_RESET
TIM1.TIM_MasterSlaveMode=TIM_MASTERSLAVEMODE_DISABLE
TIM1.TIM_SlaveMode=TIM_SLAVEMODE_TRIGGER
TIM3.AutoReloadPreload=TIM_AUTORELOAD_PRELOAD_ENABLE
TIM3.PeriodNoDither=1000-1
TIM3.Prescaler=17-1
USART2.BaudRate=1843200
USART2.VirtualMode-Asynchronous=VM_ASYNC
USART2.WordLength=WORDLENGTH_8B
VP_CORDIC_VS_CORDIC.Mode=CORDIC_Activate
VP_MotorControl_MC_ENABLED.Mode=Enabled
VP_SYS_VS_DBSignals.Mode=DisableDeadBatterySignals
VP_TIM1_VS_ClockSourceITR.Mode=TriggerSource_ITR1
VP_TIM1_VS_ControllerModeTrigger.Mode=Trigger Mode
VP_TIM1_VS_no_output4.Mode=PWM Generation4 No Output
VP_TIM3_VS_ClockSourceINT.Mode=Internal
board=custom

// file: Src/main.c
/* USER CODE BEGIN Header */
/**
  ******************************************************************************
  * @file           : main.c
  * @brief          : Main program body
  ******************************************************************************
  * @attention
  *
  * Copyright (c) 2024 STMicroelectronics.
  * All rights reserved.
  *
  * This software is licensed under terms that can be found in the LICENSE file
  * in the root directory of this software component.
  * If no LICENSE file comes with this software, it is provided AS-IS.
  *
  ******************************************************************************
  */
/* USER CODE END Header */
#include "main.h"

/* USER CODE BEGIN Includes */
#include <math.h>
#include <stdio.h>
//#include "stm32g4xx_hal.h"
/* USER CODE END Includes */

ADC_HandleTypeDef hadc1;
ADC_HandleTypeDef hadc2;

CORDIC_HandleTypeDef hcordic;

SPI_HandleTypeDef hspi3;

TIM_HandleTypeDef htim1;
TIM_HandleTypeDef htim3;

UART_HandleTypeDef huart2;
DMA_HandleTypeDef hdma_usart2_rx;
DMA_HandleTypeDef hdma_usart2_tx;

/* USER CODE BEGIN PV */
///* SPI*///
uint32_t CounterSPI;

/* Command and Response Packages */
//uint16_t Par; //Even parity bit => 0
uint16_t RW = 1 ; //Read mode => 1
uint16_t adress = 0x3FFF; // read the angle output value => 0x3FFF in hexa == 11111111111111 in binary
uint16_t command1;// = 0xFFFF
uint16_t NOP = 0 ;//= 0x0000
uint16_t response1;

/* Angle measured */
float angle;
float angle_measured;
float angle_rad;
float angle_deg;

uint16_t data;

uint16_t error_command1;
uint16_t error_response;

/* USER CODE END PV */

void SystemClock_Config(void);
static void MX_GPIO_Init(void);
static void MX_DMA_Init(void);
static void MX_ADC1_Init(void);
static void MX_ADC2_Init(void);
static void MX_CORDIC_Init(void);
static void MX_TIM1_Init(void);
static void MX_USART2_UART_Init(void);
static void MX_SPI3_Init(void);
static void MX_TIM3_Init(void);
static void MX_NVIC_Init(void);
/* USER CODE BEGIN PFP */
//static uint16_t Buffercmp(uint8_t *pBuffer1, uint8_t *pBuffer2, uint16_t BufferLength);

/* USER CODE END PFP */

int main(void)
{

  /* MCU Configuration--------------------------------------------------------*/

  /* Reset of all peripherals, Initializes the Flash interface and the Systick. */
  HAL_Init();

  /* Configure the system clock */
  SystemClock_Config();

  /* Initialize all configured peripherals */
  MX_GPIO_Init();
  MX_DMA_Init();
  MX_ADC1_Init();
  MX_ADC2_Init();
  MX_CORDIC_Init();
  MX_TIM1_Init();
  MX_USART2_UART_Init();
  MX_MotorControl_Init();
  MX_SPI3_Init();
  MX_TIM3_Init();

  /* Initialize interrupts */
  MX_NVIC_Init();
  /* USER CODE BEGIN 2 */
  HAL_TIM_Base_Init(&htim3);
  HAL_TIM_Base_Start_IT(&htim3);
  HAL_SPI_Init(&hspi3);

  /* USER CODE END 2 */

  /* Infinite loop */
  while (1)
  {

  }
}

void SystemClock_Config(void)
{
  RCC_OscInitTypeDef RCC_OscInitStruct = {0};
  RCC_ClkInitTypeDef RCC_ClkInitStruct = {0};

  /** Configure the main internal regulator output voltage
  */
  HAL_PWREx_ControlVoltageScaling(PWR_REGULATOR_VOLTAGE_SCALE1_BOOST);

  /** Initializes the RCC Oscillators according to the specified parameters
  * in the RCC_OscInitTypeDef structure.
  */
  RCC_OscInitStruct.OscillatorType = RCC_OSCILLATORTYPE_HSE;
  RCC_OscInitStruct.HSEState = RCC_HSE_ON;
  RCC_OscInitStruct.PLL.PLLState = RCC_PLL_ON;
  RCC_OscInitStruct.PLL.PLLSource = RCC_PLLSOURCE_HSE;
  RCC_OscInitStruct.PLL.PLLM = RCC_PLLM_DIV6;
  RCC_OscInitStruct.PLL.PLLN = 85;
  RCC_OscInitStruct.PLL.PLLP = RCC_PLLP_DIV8;
  RCC_OscInitStruct.PLL.PLLQ = RCC_PLLQ_DIV2;
  RCC_OscInitStruct.PLL.PLLR = RCC_PLLR_DIV2;
  if (HAL_RCC_OscConfig(&RCC_OscInitStruct) != HAL_OK)
  {
    Error_Handler();
  }

  /** Initializes the CPU, AHB and APB buses clocks
  */
  RCC_ClkInitStruct.ClockType = RCC_CLOCKTYPE_HCLK|RCC_CLOCKTYPE_SYSCLK
                              |RCC_CLOCKTYPE_PCLK1|RCC_CLOCKTYPE_PCLK2;
  RCC_ClkInitStruct.SYSCLKSource = RCC_SYSCLKSOURCE_PLLCLK;
  RCC_ClkInitStruct.AHBCLKDivider = RCC_SYSCLK_DIV1;
  RCC_ClkInitStruct.APB1CLKDivider = RCC_HCLK_DIV1;
  RCC_ClkInitStruct.APB2CLKDivider = RCC_HCLK_DIV1;

  if (HAL_RCC_ClockConfig(&RCC_ClkInitStruct, FLASH_LATENCY_4) != HAL_OK)
  {
    Error_Handler();
  }

  /** Enables the Clock Security System
  */
  HAL_RCC_EnableCSS();
}

/**
  * @brief NVIC Configuration.
  * @retval None
  */
static void MX_NVIC_Init(void)
{
  /* USART2_IRQn interrupt configuration */
  HAL_NVIC_SetPriority(USART2_IRQn, 3, 1);
  HAL_NVIC_EnableIRQ(USART2_IRQn);
  /* DMA1_Channel1_IRQn interrupt configuration */
  HAL_NVIC_SetPriority(DMA1_Channel1_IRQn, 3, 0);
  HAL_NVIC_EnableIRQ(DMA1_Channel1_IRQn);
  /* TIM1_BRK_TIM15_IRQn interrupt configuration */
  HAL_NVIC_SetPriority(TIM1_BRK_TIM15_IRQn, 4, 1);
  HAL_NVIC_EnableIRQ(TIM1_BRK_TIM15_IRQn);
  /* TIM1_UP_TIM16_IRQn interrupt configuration */
  HAL_NVIC_SetPriority(TIM1_UP_TIM16_IRQn, 0, 0);
  HAL_NVIC_EnableIRQ(TIM1_UP_TIM16_IRQn);
  /* ADC1_2_IRQn interrupt configuration */
  HAL_NVIC_SetPriority(ADC1_2_IRQn, 2, 0);
  HAL_NVIC_EnableIRQ(ADC1_2_IRQn);
  /* EXTI15_10_IRQn interrupt configuration */
  HAL_NVIC_SetPriority(EXTI15_10_IRQn, 3, 0);
  HAL_NVIC_EnableIRQ(EXTI15_10_IRQn);
  /* TIM3_IRQn interrupt configuration */
  HAL_NVIC_SetPriority(TIM3_IRQn, 0, 0);
  HAL_NVIC_EnableIRQ(TIM3_IRQn);
}

static void MX_ADC1_Init(void)
{

  ADC_MultiModeTypeDef multimode = {0};
  ADC_InjectionConfTypeDef sConfigInjected = {0};
  ADC_ChannelConfTypeDef sConfig = {0};

  /** Common config
  */
  hadc1.Instance = ADC1;
  hadc1.Init.ClockPrescaler = ADC_CLOCK_ASYNC_DIV1;
  hadc1.Init.Resolution = ADC_RESOLUTION_12B;
  hadc1.Init.DataAlign = ADC_DATAALIGN_LEFT;
  hadc1.Init.GainCompensation = 0;
  hadc1.Init.ScanConvMode = ADC_SCAN_ENABLE;
  hadc1.Init.EOCSelection = ADC_EOC_SINGLE_CONV;
  hadc1.Init.LowPowerAutoWait = DISABLE;
  hadc1.Init.ContinuousConvMode = DISABLE;
  hadc1.Init.NbrOfConversion = 1;
  hadc1.Init.DiscontinuousConvMode = DISABLE;
  hadc1.Init.ExternalTrigConv = ADC_SOFTWARE_START;
  hadc1.Init.ExternalTrigConvEdge = ADC_EXTERNALTRIGCONVEDGE_NONE;
  hadc1.Init.DMAContinuousRequests = DISABLE;
  hadc1.Init.Overrun = ADC_OVR_DATA_PRESERVED;
  hadc1.Init.OversamplingMode = DISABLE;
  if (HAL_ADC_Init(&hadc1) != HAL_OK)
  {
    Error_Handler();
  }

  /** Configure the ADC multi-mode
  */
  multimode.Mode = ADC_MODE_INDEPENDENT;
  if (HAL_ADCEx_MultiModeConfigChannel(&hadc1, &multimode) != HAL_OK)
  {
    Error_Handler();
  }

  /** Configure Injected Channel
  */
  sConfigInjected.InjectedChannel = ADC_CHANNEL_2;
  sConfigInjected.InjectedRank = ADC_INJECTED_RANK_1;
  sConfigInjected.InjectedSamplingTime = ADC_SAMPLETIME_6CYCLES_5;
  sConfigInjected.InjectedSingleDiff = ADC_SINGLE_ENDED;
  sConfigInjected.InjectedOffsetNumber = ADC_OFFSET_NONE;
  sConfigInjected.InjectedOffset = 0;
  sConfigInjected.InjectedNbrOfConversion = 2;
  sConfigInjected.InjectedDiscontinuousConvMode = DISABLE;
  sConfigInjected.AutoInjectedConv = DISABLE;
  sConfigInjected.QueueInjectedContext = DISABLE;
  sConfigInjected.ExternalTrigInjecConv = ADC_EXTERNALTRIGINJEC_T1_TRGO;
  sConfigInjected.ExternalTrigInjecConvEdge = ADC_EXTERNALTRIGINJECCONV_EDGE_RISING;
  sConfigInjected.InjecOversamplingMode = DISABLE;
  if (HAL_ADCEx_InjectedConfigChannel(&hadc1, &sConfigInjected) != HAL_OK)
  {
    Error_Handler();
  }

  /** Configure Injected Channel
  */
  sConfigInjected.InjectedChannel = ADC_CHANNEL_14;
  sConfigInjected.InjectedRank = ADC_INJECTED_RANK_2;
  if (HAL_ADCEx_InjectedConfigChannel(&hadc1, &sConfigInjected) != HAL_OK)
  {
    Error_Handler();
  }

  /** Configure Regular Channel
  */
  sConfig.Channel = ADC_CHANNEL_1;
  sConfig.Rank = ADC_REGULAR_RANK_1;
  sConfig.SamplingTime = ADC_SAMPLETIME_47CYCLES_5;
  sConfig.SingleDiff = ADC_SINGLE_ENDED;
  sConfig.OffsetNumber = ADC_OFFSET_NONE;
  sConfig.Offset = 0;
  if (HAL_ADC_ConfigChannel(&hadc1, &sConfig) != HAL_OK)
  {
    Error_Handler();
  }

}

static void MX_ADC2_Init(void)
{

  ADC_InjectionConfTypeDef sConfigInjected = {0};
  ADC_ChannelConfTypeDef sConfig = {0};

  /** Common config
  */
  hadc2.Instance = ADC2;
  hadc2.Init.ClockPrescaler = ADC_CLOCK_ASYNC_DIV1;
  hadc2.Init.Resolution = ADC_RESOLUTION_12B;
  hadc2.Init.DataAlign = ADC_DATAALIGN_LEFT;
  hadc2.Init.GainCompensation = 0;
  hadc2.Init.ScanConvMode = ADC_SCAN_ENABLE;
  hadc2.Init.EOCSelection = ADC_EOC_SINGLE_CONV;
  hadc2.Init.LowPowerAutoWait = DISABLE;
  hadc2.Init.ContinuousConvMode = DISABLE;
  hadc2.Init.NbrOfConversion = 1;
  hadc2.Init.DiscontinuousConvMode = DISABLE;
  hadc2.Init.ExternalTrigConv = ADC_SOFTWARE_START;
  hadc2.Init.ExternalTrigConvEdge = ADC_EXTERNALTRIGCONVEDGE_NONE;
  hadc2.Init.DMAContinuousRequests = DISABLE;
  hadc2.Init.Overrun = ADC_OVR_DATA_PRESERVED;
  hadc2.Init.OversamplingMode = DISABLE;
  if (HAL_ADC_Init(&hadc2) != HAL_OK)
  {
    Error_Handler();
  }

  /** Configure Injected Channel
  */
  sConfigInjected.InjectedChannel = ADC_CHANNEL_14;
  sConfigInjected.InjectedRank = ADC_INJECTED_RANK_1;
  sConfigInjected.InjectedSamplingTime = ADC_SAMPLETIME_6CYCLES_5;
  sConfigInjected.InjectedSingleDiff = ADC_SINGLE_ENDED;
  sConfigInjected.InjectedOffsetNumber = ADC_OFFSET_NONE;
  sConfigInjected.InjectedOffset = 0;
  sConfigInjected.InjectedNbrOfConversion = 2;
  sConfigInjected.InjectedDiscontinuousConvMode = DISABLE;
  sConfigInjected.AutoInjectedConv = DISABLE;
  sConfigInjected.QueueInjectedContext = DISABLE;
  sConfigInjected.ExternalTrigInjecConv = ADC_EXTERNALTRIGINJEC_T1_TRGO;
  sConfigInjected.ExternalTrigInjecConvEdge = ADC_EXTERNALTRIGINJECCONV_EDGE_RISING;
  sConfigInjected.InjecOversamplingMode = DISABLE;
  if (HAL_ADCEx_InjectedConfigChannel(&hadc2, &sConfigInjected) != HAL_OK)
  {
    Error_Handler();
  }

  /** Configure Injected Channel
  */
  sConfigInjected.InjectedChannel = ADC_CHANNEL_4;
  sConfigInjected.InjectedRank = ADC_INJECTED_RANK_2;
  if (HAL_ADCEx_InjectedConfigChannel(&hadc2, &sConfigInjected) != HAL_OK)
  {
    Error_Handler();
  }

  /** Configure Regular Channel
  */
  sConfig.Channel = ADC_CHANNEL_5;
  sConfig.Rank = ADC_REGULAR_RANK_1;
  sConfig.SamplingTime = ADC_SAMPLETIME_47CYCLES_5;
  sConfig.SingleDiff = ADC_SINGLE_ENDED;
  sConfig.OffsetNumber = ADC_OFFSET_NONE;
  sConfig.Offset = 0;
  if (HAL_ADC_ConfigChannel(&hadc2, &sConfig) != HAL_OK)
  {
    Error_Handler();
  }

}

static void MX_CORDIC_Init(void)
{

  hcordic.Instance = CORDIC;
  if (HAL_CORDIC_Init(&hcordic) != HAL_OK)
  {
    Error_Handler();
  }

}

static void MX_SPI3_Init(void)
{

  /* SPI3 parameter configuration*/
  hspi3.Instance = SPI3;
  hspi3.Init.Mode = SPI_MODE_MASTER;
  hspi3.Init.Direction = SPI_DIRECTION_2LINES;
  hspi3.Init.DataSize = SPI_DATASIZE_16BIT;
  hspi3.Init.CLKPolarity = SPI_POLARITY_LOW;
  hspi3.Init.CLKPhase = SPI_PHASE_2EDGE;
  hspi3.Init.NSS = SPI_NSS_SOFT;
  hspi3.Init.BaudRatePrescaler = SPI_BAUDRATEPRESCALER_32;
  hspi3.Init.FirstBit = SPI_FIRSTBIT_MSB;
  hspi3.Init.TIMode = SPI_TIMODE_DISABLE;
  hspi3.Init.CRCCalculation = SPI_CRCCALCULATION_DISABLE;
  hspi3.Init.CRCPolynomial = 7;
  hspi3.Init.CRCLength = SPI_CRC_LENGTH_DATASIZE;
  hspi3.Init.NSSPMode = SPI_NSS_PULSE_DISABLE;
  if (HAL_SPI_Init(&hspi3) != HAL_OK)
  {
    Error_Handler();
  }

}

static void MX_TIM1_Init(void)
{

  TIM_SlaveConfigTypeDef sSlaveConfig = {0};
  TIM_MasterConfigTypeDef sMasterConfig = {0};
  TIMEx_BreakInputConfigTypeDef sBreakInputConfig = {0};
  TIM_OC_InitTypeDef sConfigOC = {0};
  TIM_BreakDeadTimeConfigTypeDef sBreakDeadTimeConfig = {0};

  htim1.Instance = TIM1;
  htim1.Init.Prescaler = ((TIM_CLOCK_DIVIDER) - 1);
  htim1.Init.CounterMode = TIM_COUNTERMODE_CENTERALIGNED1;
  htim1.Init.Period = ((PWM_PERIOD_CYCLES) / 2);
  htim1.Init.ClockDivision = TIM_CLOCKDIVISION_DIV2;
  htim1.Init.RepetitionCounter = (REP_COUNTER);
  htim1.Init.AutoReloadPreload = TIM_AUTORELOAD_PRELOAD_DISABLE;
  if (HAL_TIM_Base_Init(&htim1) != HAL_OK)
  {
    Error_Handler();
  }
  if (HAL_TIM_PWM_Init(&htim1) != HAL_OK)
  {
    Error_Handler();
  }
  sSlaveConfig.SlaveMode = TIM_SLAVEMODE_TRIGGER;
  sSlaveConfig.InputTrigger = TIM_TS_ITR1;
  if (HAL_TIM_SlaveConfigSynchro(&htim1, &sSlaveConfig) != HAL_OK)
  {
    Error_Handler();
  }
  sMasterConfig.MasterOutputTrigger = TIM_TRGO_OC4REF;
  sMasterConfig.MasterOutputTrigger2 = TIM_TRGO2_RESET;
  sMasterConfig.MasterSlaveMode = TIM_MASTERSLAVEMODE_DISABLE;
  if (HAL_TIMEx_MasterConfigSynchronization(&htim1, &sMasterConfig) != HAL_OK)
  {
    Error_Handler();
  }
  sBreakInputConfig.Source = TIM_BREAKINPUTSOURCE_BKIN;
  sBreakInputConfig.Enable = TIM_BREAKINPUTSOURCE_ENABLE;
  sBreakInputConfig.Polarity = TIM_BREAKINPUTSOURCE_POLARITY_LOW;
  if (HAL_TIMEx_ConfigBreakInput(&htim1, TIM_BREAKINPUT_BRK2, &sBreakInputConfig) != HAL_OK)
  {
    Error_Handler();
  }
  sConfigOC.OCMode = TIM_OCMODE_PWM1;
  sConfigOC.Pulse = ((PWM_PERIOD_CYCLES) / 4);
  sConfigOC.OCPolarity = TIM_OCPOLARITY_HIGH;
  sConfigOC.OCNPolarity = TIM_OCNPOLARITY_HIGH;
  sConfigOC.OCFastMode = TIM_OCFAST_DISABLE;
  sConfigOC.OCIdleState = TIM_OCIDLESTATE_RESET;
  sConfigOC.OCNIdleState = TIM_OCNIDLESTATE_RESET;
  if (HAL_TIM_PWM_ConfigChannel(&htim1, &sConfigOC, TIM_CHANNEL_1) != HAL_OK)
  {
    Error_Handler();
  }
  if (HAL_TIM_PWM_ConfigChannel(&htim1, &sConfigOC, TIM_CHANNEL_2) != HAL_OK)
  {
    Error_Handler();
  }
  if (HAL_TIM_PWM_ConfigChannel(&htim1, &sConfigOC, TIM_CHANNEL_3) != HAL_OK)
  {
    Error_Handler();
  }
  sConfigOC.OCMode = TIM_OCMODE_PWM2;
  sConfigOC.Pulse = (((PWM_PERIOD_CYCLES) / 2) - (HTMIN));
  if (HAL_TIM_PWM_ConfigChannel(&htim1, &sConfigOC, TIM_CHANNEL_4) != HAL_OK)
  {
    Error_Handler();
  }
  sBreakDeadTimeConfig.OffStateRunMode = TIM_OSSR_ENABLE;
  sBreakDeadTimeConfig.OffStateIDLEMode = TIM_OSSI_ENABLE;
  sBreakDeadTimeConfig.LockLevel = TIM_LOCKLEVEL_1;
  sBreakDeadTimeConfig.DeadTime = 0;
  sBreakDeadTimeConfig.BreakState = TIM_BREAK_DISABLE;
  sBreakDeadTimeConfig.BreakPolarity = TIM_BREAKPOLARITY_HIGH;
  sBreakDeadTimeConfig.BreakFilter = 0;
  sBreakDeadTimeConfig.BreakAFMode = TIM_BREAK_AFMODE_INPUT;
  sBreakDeadTimeConfig.Break2State = TIM_BREAK2_ENABLE;
  sBreakDeadTimeConfig.Break2Polarity = TIM_BREAK2POLARITY_HIGH;
  sBreakDeadTimeConfig.Break2Filter = 3;
  sBreakDeadTimeConfig.Break2AFMode = TIM_BREAK_AFMODE_INPUT;
  sBreakDeadTimeConfig.AutomaticOutput = TIM_AUTOMATICOUTPUT_DISABLE;
  if (HAL_TIMEx_ConfigBreakDeadTime(&htim1, &sBreakDeadTimeConfig) != HAL_OK)
  {
    Error_Handler();
  }
  HAL_TIM_MspPostInit(&htim1);

}

static void MX_TIM3_Init(void)
{

  TIM_ClockConfigTypeDef sClockSourceConfig = {0};
  TIM_MasterConfigTypeDef sMasterConfig = {0};

  htim3.Instance = TIM3;
  htim3.Init.Prescaler = 17-1;
  htim3.Init.CounterMode = TIM_COUNTERMODE_UP;
  htim3.Init.Period = 999;
  htim3.Init.ClockDivision = TIM_CLOCKDIVISION_DIV1;
  htim3.Init.AutoReloadPreload = TIM_AUTORELOAD_PRELOAD_ENABLE;
  if (HAL_TIM_Base_Init(&htim3) != HAL_OK)
  {
    Error_Handler();
  }
  sClockSourceConfig.ClockSource = TIM_CLOCKSOURCE_INTERNAL;
  if (HAL_TIM_ConfigClockSource(&htim3, &sClockSourceConfig) != HAL_OK)
  {
    Error_Handler();
  }
  sMasterConfig.MasterOutputTrigger = TIM_TRGO_RESET;
  sMasterConfig.MasterSlaveMode = TIM_MASTERSLAVEMODE_DISABLE;
  if (HAL_TIMEx_MasterConfigSynchronization(&htim3, &sMasterConfig) != HAL_OK)
  {
    Error_Handler();
  }
  /* USER CODE BEGIN TIM3_Init 2 */
  HAL_NVIC_SetPriority(TIM3_IRQn, 0, 0);
  HAL_NVIC_EnableIRQ(TIM3_IRQn);

  /* USER CODE END TIM3_Init 2 */

}

static void MX_USART2_UART_Init(void)
{

  huart2.Instance = USART2;
  huart2.Init.BaudRate = 1843200;
  huart2.Init.WordLength = UART_WORDLENGTH_8B;
  huart2.Init.StopBits = UART_STOPBITS_1;
  huart2.Init.Parity = UART_PARITY_NONE;
  huart2.Init.Mode = UART_MODE_TX_RX;
  huart2.Init.HwFlowCtl = UART_HWCONTROL_NONE;
  huart2.Init.OverSampling = UART_OVERSAMPLING_16;
  huart2.Init.OneBitSampling = UART_ONE_BIT_SAMPLE_DISABLE;
  huart2.Init.ClockPrescaler = UART_PRESCALER_DIV1;
  huart2.AdvancedInit.AdvFeatureInit = UART_ADVFEATURE_NO_INIT;
  if (HAL_UART_Init(&huart2) != HAL_OK)
  {
    Error_Handler();
  }
  if (HAL_UARTEx_SetTxFifoThreshold(&huart2, UART_TXFIFO_THRESHOLD_1_8) != HAL_OK)
  {
    Error_Handler();
  }
  if (HAL_UARTEx_SetRxFifoThreshold(&huart2, UART_RXFIFO_THRESHOLD_1_8) != HAL_OK)
  {
    Error_Handler();
  }
  if (HAL_UARTEx_DisableFifoMode(&huart2) != HAL_OK)
  {
    Error_Handler();
  }

}

static void MX_DMA_Init(void)
{

  /* DMA controller clock enable */
  __HAL_RCC_DMAMUX1_CLK_ENABLE();
  __HAL_RCC_DMA1_CLK_ENABLE();

}

static void MX_GPIO_Init(void)
{
  GPIO_InitTypeDef GPIO_InitStruct = {0};

  /* GPIO Ports Clock Enable */
  __HAL_RCC_GPIOC_CLK_ENABLE();
  __HAL_RCC_GPIOF_CLK_ENABLE();
  __HAL_RCC_GPIOA_CLK_ENABLE();
  __HAL_RCC_GPIOB_CLK_ENABLE();

  /*Configure GPIO pin Output Level */
  HAL_GPIO_WritePin(NSS_GPIO_Port, NSS_Pin, GPIO_PIN_SET);

  /*Configure GPIO pin Output Level */
  HAL_GPIO_WritePin(GPIOB, M1_PWM_EN_U_Pin|M1_PWM_EN_V_Pin|M1_PWM_EN_W_Pin, GPIO_PIN_RESET);

  /*Configure GPIO pin : Start_Stop_Pin */
  GPIO_InitStruct.Pin = Start_Stop_Pin;
  GPIO_InitStruct.Mode = GPIO_MODE_IT_FALLING;
  GPIO_InitStruct.Pull = GPIO_NOPULL;
  HAL_GPIO_Init(Start_Stop_GPIO_Port, &GPIO_InitStruct);

  /*Configure GPIO pin : NSS_Pin */
  GPIO_InitStruct.Pin = NSS_Pin;
  GPIO_InitStruct.Mode = GPIO_MODE_OUTPUT_PP;
  GPIO_InitStruct.Pull = GPIO_NOPULL;
  GPIO_InitStruct.Speed = GPIO_SPEED_FREQ_LOW;
  HAL_GPIO_Init(NSS_GPIO_Port, &GPIO_InitStruct);

  /*Configure GPIO pins : M1_PWM_EN_U_Pin M1_PWM_EN_V_Pin M1_PWM_EN_W_Pin */
  GPIO_InitStruct.Pin = M1_PWM_EN_U_Pin|M1_PWM_EN_V_Pin|M1_PWM_EN_W_Pin;
  GPIO_InitStruct.Mode = GPIO_MODE_OUTPUT_PP;
  GPIO_InitStruct.Pull = GPIO_PULLDOWN;
  GPIO_InitStruct.Speed = GPIO_SPEED_FREQ_HIGH;
  HAL_GPIO_Init(GPIOB, &GPIO_InitStruct);

}

/* USER CODE BEGIN 4 */

uint16_t CalcParityBit(uint16_t command)
{
	uint8_t x = 0;
	uint8_t i;
	for (i = 0; i < 16; i++)
	{
		if (command & 0x1)
		{
			x++;
		}
		command >>= 1;
	}
	return x & 0x1;
}

float read_as5048a(SPI_HandleTypeDef *hspi)
{
	CounterSPI ++;
	command1 = (RW << 14) | (adress & 0x3FFF) ;
	command1 = ((uint16_t)CalcParityBit(command1)<<15)|command1; //0b1111 1111 1111 1111

	HAL_GPIO_WritePin(NSS_GPIO_Port, NSS_Pin, GPIO_PIN_RESET);
	HAL_SPI_TransmitReceive(&hspi3, (uint8_t*)&command1, (uint8_t*)&response1,sizeof(uint8_t), 1);
	HAL_GPIO_WritePin(NSS_GPIO_Port, NSS_Pin, GPIO_PIN_SET);

	for (int i = 0; i<5; i++)
	  HAL_GPIO_WritePin(NSS_GPIO_Port, NSS_Pin, GPIO_PIN_SET);

	HAL_GPIO_WritePin(NSS_GPIO_Port, NSS_Pin, GPIO_PIN_RESET);
	HAL_SPI_TransmitReceive(&hspi3, (uint8_t*)&NOP, (uint8_t*)&response1,sizeof(uint8_t), 1);
	HAL_GPIO_WritePin(NSS_GPIO_Port, NSS_Pin, GPIO_PIN_SET);

    if (response1 & 0x4000)
    {
        error_command1 = 0x4001;
        error_response = 0;

        HAL_GPIO_WritePin(NSS_GPIO_Port, NSS_Pin, GPIO_PIN_RESET);
        HAL_SPI_TransmitReceive(hspi, (uint8_t*)&error_command1, (uint8_t*)&error_response, sizeof(uint8_t), 1);
        HAL_GPIO_WritePin(NSS_GPIO_Port, NSS_Pin, GPIO_PIN_SET);

    	for (int i = 0; i<5; i++)
    	  HAL_GPIO_WritePin(NSS_GPIO_Port, NSS_Pin, GPIO_PIN_SET);

        HAL_GPIO_WritePin(NSS_GPIO_Port, NSS_Pin, GPIO_PIN_RESET);
        HAL_SPI_TransmitReceive(hspi, (uint8_t*)&NOP, (uint8_t*)&error_response, sizeof(uint8_t), 1);
        HAL_GPIO_WritePin(NSS_GPIO_Port, NSS_Pin, GPIO_PIN_SET);

        return -1;
    }
    data = response1 & 0x3FFF;
    return data;
}

void HAL_TIM_PeriodElapsedCallback(TIM_HandleTypeDef *htim)
{
	if (htim->Instance == TIM3)
	{
		CounterSPI ++;
		angle_measured = read_as5048a(&hspi3);
		angle_rad = ((float)angle_measured) / 16384.0*2.0*M_PI;
		angle_deg = ((float)angle_measured) / 16384.0*360.0;
	}
}

/* USER CODE END 4 */

void Error_Handler(void)
{
  __disable_irq();
  while (1)
  {
  }
}
